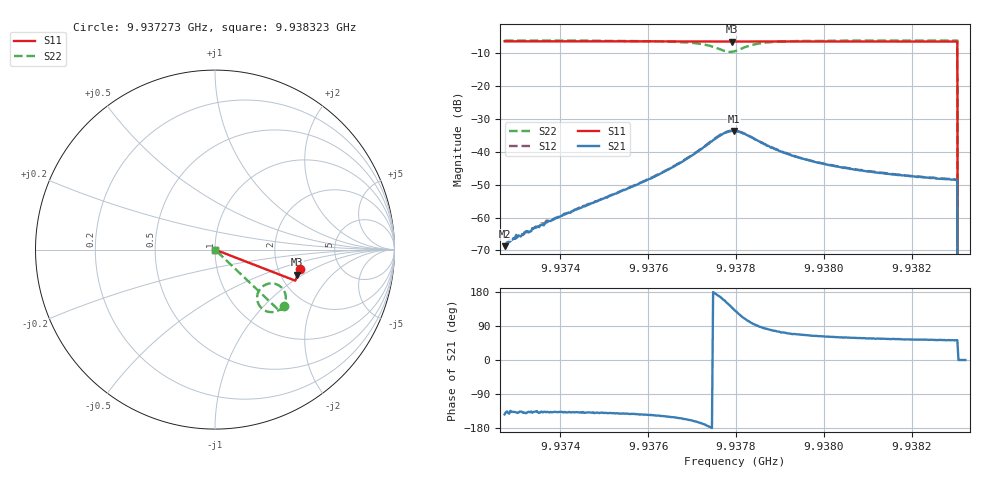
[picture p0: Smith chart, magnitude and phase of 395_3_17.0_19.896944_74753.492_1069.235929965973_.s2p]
#  HZ  S  RI  R  50.00
! Rohde & Schwarz Vector Network Analyzer
! Rohde-Schwarz,ZNB20-2Port,1311601062101988,3.16
! Created: UTC 3/20/2024, 11:09:49 PM
! freq[Hz]  re:S11  im:S11  re:S21  im:S21  re:S12  im:S12  re:S22  im:S22
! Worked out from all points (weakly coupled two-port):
!   401 points, 9.937273 GHz to 9.938323 GHz, reference 50 ohm
!   highest |S21| = -33.59 dB at 9.937795 GHz (marker M1); lowest = -68.7 dB at 9.937273 GHz (marker M2)
!   lowest |S11| = -6.4 dB at 9.93779 GHz (marker M3), VSWR 2.84, Z = 123 - j44.6 ohm
!   |S11| at or under -10 dB: 9.938304 GHz to end of sweep
!   |S22| runs from - to -6.1 dB; largest |S21 - S12| = 0.00092
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9.9372729e9  0.4718 -0.1067  -0.000296 -0.000218  -0.000303 -0.000259  0.3858 -0.315
9.9372939e9  0.4712 -0.108  -0.000355 -0.00033  -0.000368 -0.000301  0.3844 -0.3164
9.9373201e9  0.4707 -0.1097  -0.000467 -0.000391  -0.000437 -0.000399  0.3825 -0.3183
9.9373726e9  0.4697 -0.1133  -0.000654 -0.000597  -0.000656 -0.000612  0.3781 -0.3222
9.9374487e9  0.4681 -0.1184  -0.00108 -0.000935  -0.00106 -0.000921  0.3708 -0.3281
9.9375511e9  0.4657 -0.1251  -0.00212 -0.00169  -0.0022 -0.00168  0.3564 -0.3375
9.9376245e9  0.4638 -0.1303  -0.00379 -0.00249  -0.0039 -0.00245  0.3386 -0.3449
9.9376744e9  0.4626 -0.1336  -0.00621 -0.00304  -0.00637 -0.00299  0.3166 -0.3483
9.9377295e9  0.4607 -0.1372  -0.012 -0.00202  -0.0123 -0.00178  0.2694 -0.3342
9.9377663e9  0.4589 -0.1389  -0.0175 0.00485  -0.0178 0.00544  0.2348 -0.2727
9.9377899e9  0.4582 -0.1394  -0.0158 0.0136  -0.0157 0.0141  0.2608 -0.2093
9.9377951e9  0.4583 -0.1394  -0.0144 0.0152  -0.0142 0.0158  0.2741 -0.1997
9.9377978e9  0.4583 -0.1395  -0.0134 0.0159  -0.0133 0.0163  0.2813 -0.1956
9.9378187e9  0.4587 -0.1405  -0.0065 0.0178  -0.006 0.0182  0.3386 -0.1922
9.9378529e9  0.4587 -0.1429  0.000508 0.0144  0.000679 0.0146  0.3848 -0.2301
9.937908e9  0.4578 -0.1469  0.00289 0.00929  0.00314 0.00934  0.3945 -0.2753
9.9379736e9  0.4563 -0.1516  0.00315 0.0065  0.00329 0.0065  0.3889 -0.301
9.9380471e9  0.4543 -0.1565  0.00292 0.00492  0.00303 0.00494  0.3811 -0.3162
9.9381494e9  0.4516 -0.163  0.00262 0.00381  0.0027 0.00382  0.3719 -0.3294
9.938299e9  0.4474 -0.1727  0.00231 0.00297  0.00238 0.00299  0.3607 -0.3419
9.9383121e9  0 0  0 0  0 0  0 0
9.9383226e9  0 0  0 0  0 0  0 0
